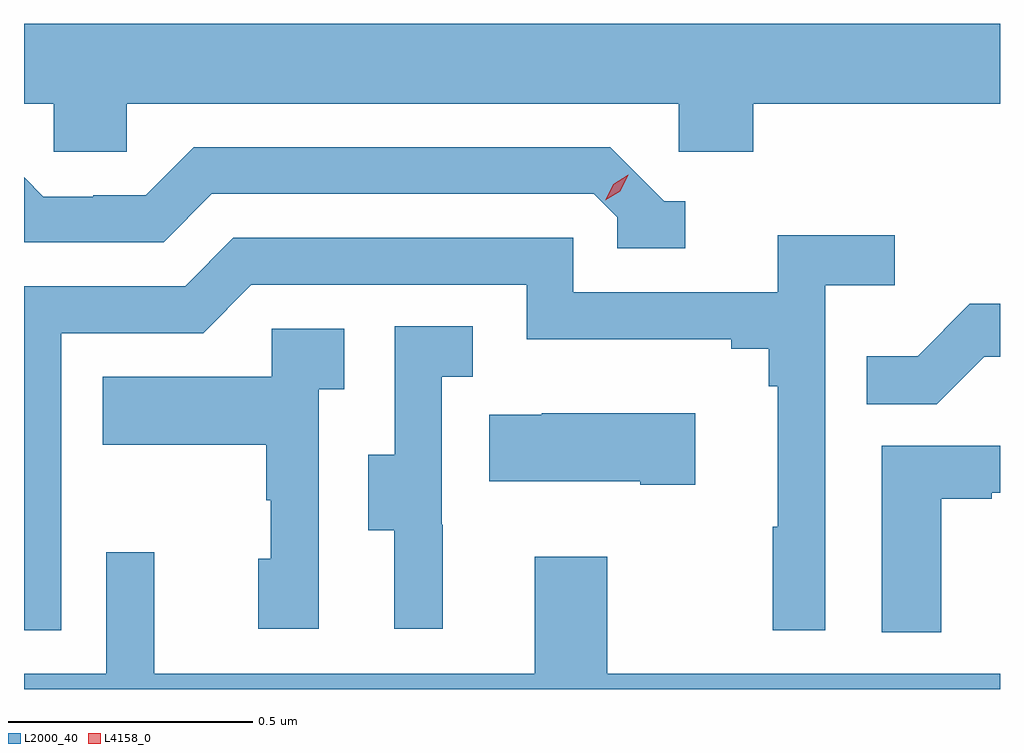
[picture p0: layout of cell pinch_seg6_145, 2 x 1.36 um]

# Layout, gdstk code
import gdstk
lib = gdstk.Library(unit=1e-6, precision=1e-09)
def P(c, l, *ps):  # polygons
    for p in ps: c.add(gdstk.Polygon(p, *l))
L2000_40 = (2000, 40)
L4158_0 = (4158, 0)

pinch_seg6_145 = lib.new_cell('pinch_seg6_145')
P(pinch_seg6_145, L2000_40, [(960.573,916.7),(961.704,916.7),(961.704,916.602),(961.856,916.602),(961.856,916.7),(962.362,916.7),(962.362,916.864),(960.362,916.864),(960.362,916.7),(960.423,916.7),(960.423,916.602),(960.573,916.602)],
  [(961.717,916.5),(961.674,916.5),(961.563,916.611),(960.71,916.611),(960.611,916.512),(960.504,916.512),(960.504,916.509),(960.401,916.509),(960.362,916.549),(960.362,916.416),(960.648,916.416),(960.747,916.515),(961.53,916.515),(961.578,916.467),(961.578,916.404),(961.717,916.404)],
  [(960.438,916.23),(960.729,916.23),(960.828,916.329),(961.392,916.329),(961.392,916.217),(961.811,916.217),(961.811,916.198),(961.888,916.198),(961.888,916.121),(961.907,916.121),(961.907,915.833),(961.896,915.833),(961.896,915.621),(962.004,915.621),(962.004,916.328),(962.146,916.328),(962.146,916.43),(961.907,916.43),(961.907,916.314),(961.488,916.314),(961.488,916.425),(960.791,916.425),(960.692,916.326),(960.362,916.326),(960.362,915.621),(960.438,915.621)],
  [(962.33,916.182),(962.362,916.182),(962.362,916.29),(962.3,916.29),(962.193,916.183),(962.089,916.183),(962.089,916.084),(962.232,916.084)],
  [(961.22,915.837),(961.218,915.837),(961.218,916.141),(961.282,916.141),(961.282,916.244),(961.122,916.244),(961.122,915.981),(961.067,915.981),(961.067,915.826),(961.121,915.826),(961.121,915.624),(961.22,915.624)],
  [(960.966,916.115),(961.018,916.115),(961.018,916.239),(960.87,916.239),(960.87,916.141),(960.523,916.141),(960.523,916.001),(960.858,916.001),(960.858,915.887),(960.868,915.887),(960.868,915.768),(960.842,915.768),(960.842,915.624),(960.966,915.624)],
  [(961.738,916.066),(961.423,916.066),(961.423,916.063),(961.315,916.063),(961.315,915.926),(961.625,915.926),(961.625,915.919),(961.738,915.919)],
  [(962.242,915.891),(962.345,915.891),(962.345,915.903),(962.362,915.903),(962.362,915.999),(962.12,915.999),(962.12,915.617),(962.242,915.617)],
  [(962.362,915.532),(961.557,915.532),(961.557,915.772),(961.409,915.772),(961.409,915.532),(960.629,915.532),(960.629,915.781),(960.531,915.781),(960.531,915.532),(960.362,915.532),(960.362,915.5),(962.362,915.5)])
P(pinch_seg6_145, L4158_0, [(961.553,916.502),(961.553,916.502),(961.569,916.535),(961.6,916.554),(961.6,916.554),(961.6,916.554),(961.584,916.521),(961.553,916.502)])

lib.write_gds('pinch_seg6_145.gds')
